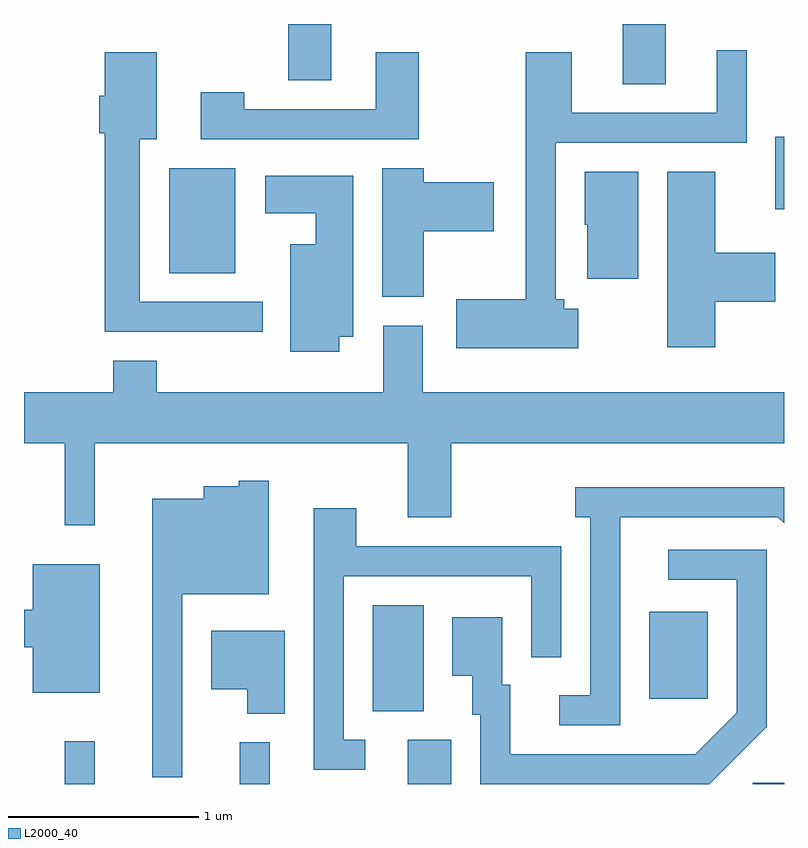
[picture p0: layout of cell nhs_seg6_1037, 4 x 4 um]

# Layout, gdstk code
import gdstk
lib = gdstk.Library(unit=1e-6, precision=1e-09)
def R(c, l, rs):  # rectangles x0, y0, x1, y1
    for r in rs: c.add(gdstk.rectangle(r[:2], r[2:], *l))
def P(c, l, *ps):  # polygons
    for p in ps: c.add(gdstk.Polygon(p, *l))
L2000_40 = (2000, 40)

nhs_seg6_1037 = lib.new_cell('nhs_seg6_1037')
R(nhs_seg6_1037, L2000_40, [(215.826,1628.162,215.984,1628.388), (216.746,1628.162,216.904,1628.383), (217.631,1628.162,217.859,1628.394), (219.446,1628.162,219.611,1628.169), (217.446,1628.546,217.714,1629.104), (218.901,1628.611,219.209,1629.069), (216.376,1630.851,216.724,1631.404), (219.566,1631.186,219.611,1631.569), (218.761,1631.846,218.989,1632.162), (217.001,1631.866,217.229,1632.162)])
P(nhs_seg6_1037, L2000_40, [(218.529,1630.664),(218.454,1630.664),(218.454,1630.714),(218.409,1630.714),(218.409,1631.536),(219.414,1631.536),(219.414,1632.023),(219.256,1632.023),(219.256,1631.694),(218.494,1631.694),(218.494,1632.014),(218.251,1632.014),(218.251,1630.714),(217.886,1630.714),(217.886,1630.456),(218.529,1630.456)],
  [(217.689,1632.014),(217.461,1632.014),(217.461,1631.714),(216.769,1631.714),(216.769,1631.804),(216.541,1631.804),(216.541,1631.556),(217.689,1631.556)],
  [(216.868,1630.699),(216.219,1630.699),(216.219,1631.556),(216.309,1631.556),(216.309,1632.014),(216.036,1632.014),(216.036,1631.784),(216.006,1631.784),(216.006,1631.586),(216.036,1631.586),(216.036,1630.541),(216.868,1630.541)],
  [(217.714,1631.071),(218.084,1631.071),(218.084,1631.329),(217.714,1631.329),(217.714,1631.404),(217.496,1631.404),(217.496,1630.726),(217.714,1630.726)],
  [(219.249,1630.701),(219.564,1630.701),(219.564,1630.959),(219.249,1630.959),(219.249,1631.384),(218.996,1631.384),(218.996,1630.461),(219.249,1630.461)],
  [(218.844,1631.384),(218.561,1631.384),(218.561,1631.105),(218.576,1631.105),(218.576,1630.821),(218.844,1630.821)],
  [(217.269,1630.516),(217.344,1630.516),(217.344,1631.364),(216.881,1631.364),(216.881,1631.166),(217.146,1631.166),(217.146,1631.004),(217.011,1631.004),(217.011,1630.436),(217.269,1630.436)],
  [(215.984,1629.956),(217.631,1629.956),(217.631,1629.566),(217.859,1629.566),(217.859,1629.956),(219.611,1629.956),(219.611,1630.224),(217.709,1630.224),(217.709,1630.574),(217.501,1630.574),(217.501,1630.224),(216.309,1630.224),(216.309,1630.389),(216.081,1630.389),(216.081,1630.224),(215.611,1630.224),(215.611,1629.956),(215.826,1629.956),(215.826,1629.523),(215.984,1629.523)],
  [(216.444,1629.161),(216.899,1629.161),(216.899,1629.759),(216.741,1629.759),(216.741,1629.729),(216.556,1629.729),(216.556,1629.664),(216.286,1629.664),(216.286,1628.198),(216.444,1628.198)],
  [(218.749,1629.566),(219.579,1629.566),(219.611,1629.534),(219.611,1629.724),(218.513,1629.724),(218.513,1629.566),(218.591,1629.566),(218.591,1628.629),(218.428,1628.629),(218.428,1628.471),(218.749,1628.471)],
  [(217.408,1628.394),(217.294,1628.394),(217.294,1629.256),(218.281,1629.256),(218.281,1628.828),(218.439,1628.828),(218.439,1629.414),(217.359,1629.414),(217.359,1629.614),(217.136,1629.614),(217.136,1628.236),(217.408,1628.236)],
  [(219.519,1628.464),(219.519,1629.394),(219.003,1629.394),(219.003,1629.236),(219.361,1629.236),(219.361,1628.537),(219.144,1628.319),(218.169,1628.319),(218.169,1628.684),(218.129,1628.684),(218.129,1629.039),(217.866,1629.039),(217.866,1628.731),(217.971,1628.731),(217.971,1628.526),(218.011,1628.526),(218.011,1628.162),(219.218,1628.162)],
  [(216.009,1629.319),(215.656,1629.319),(215.656,1629.079),(215.611,1629.079),(215.611,1628.881),(215.656,1628.881),(215.656,1628.641),(216.009,1628.641)],
  [(216.984,1628.969),(216.596,1628.969),(216.596,1628.661),(216.786,1628.661),(216.786,1628.531),(216.984,1628.531)])

lib.write_gds('nhs_seg6_1037.gds')
